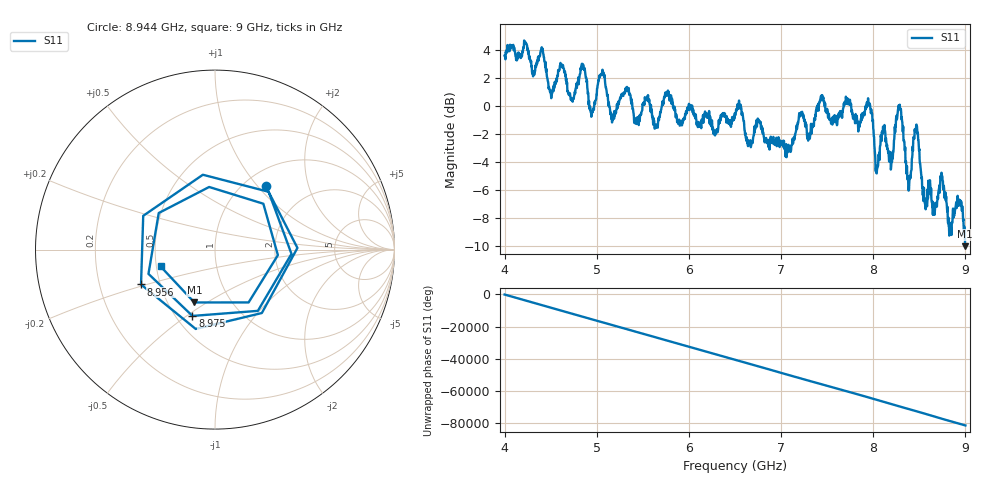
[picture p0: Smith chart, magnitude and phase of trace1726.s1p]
! Created with skrf 1.8.0 (http://scikit-rf.org).
# Hz S RI R 50.0
!freq ReS11 ImS11
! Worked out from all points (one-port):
!   1601 points, 4 GHz to 9 GHz, reference 50 ohm
!   lowest |S11| = -10.0 dB at 8.997 GHz (marker M1), VSWR 1.92, Z = 33.8 - j22.1 ohm
!   |S11| at or under -10 dB: 8.996993 GHz to 8.997165 GHz (171.7 kHz wide, 0.00191 % of centre)
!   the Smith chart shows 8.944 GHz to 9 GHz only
!   S11 on the Smith chart (normalised r, x): 8.944 GHz: 1.24, +1.10; 8.956 GHz: 0.39, -0.19; 8.975 GHz: 0.60, -0.53; 9 GHz: 0.53, -0.11
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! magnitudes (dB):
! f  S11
! 4 GHz  3.6
! 4.403 GHz  4.2
! 4.506 GHz  0.5
! 4.625 GHz  2.7
! 4.731 GHz  0.4
! 4.85 GHz  2.9
! 4.944 GHz  -0.6
! 5.05 GHz  2.3
! 5.162 GHz  -0.8
! 5.25 GHz  0.5
! 5.875 GHz  -1.0
! 6.5 GHz  -0.7
! 7.125 GHz  -2.3
! 7.438 GHz  0.4
! 7.75 GHz  0.2
! 7.962 GHz  0.1
! 8.044 GHz  -4.4
! 8.106 GHz  -1.5
! 8.197 GHz  -4.1
! 8.288 GHz  0.1
! 8.375 GHz  -5.0
! 8.466 GHz  -1.4
! 8.562 GHz  -7.0
! 8.944 GHz  -6.9
! 8.956 GHz  -6.8
! 8.975 GHz  -8.2
! 8.997 GHz  -10.0
! 9 GHz  -10.0
